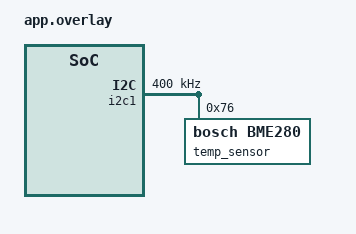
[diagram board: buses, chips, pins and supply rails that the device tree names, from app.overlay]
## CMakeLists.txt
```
cmake_minimum_required(VERSION 3.20.0)

find_package(Zephyr REQUIRED HINTS $ENV{ZEPHYR_BASE})
project(vitals_node_cpp)

target_sources(app PRIVATE src/main.cpp)
```

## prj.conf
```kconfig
# Підсистеми вмикаються поіменно: усе, чого тут немає, у прошивку не потрапляє.
CONFIG_GPIO=y
CONFIG_I2C=y
CONFIG_SENSOR=y
CONFIG_BME280=y

# C++ у Zephyr — це два прапорці. Винятки й RTTI лишаємо вимкненими:
# std::expected їх не потребує, а розмір образу від них помітно росте.
CONFIG_CPP=y
CONFIG_STD_CPP2B=y
CONFIG_CPP_EXCEPTIONS=n
CONFIG_CPP_RTTI=n

CONFIG_LOG=y
CONFIG_LOG_MODE_MINIMAL=y

CONFIG_HW_STACK_PROTECTION=y
CONFIG_THREAD_NAME=y
CONFIG_THREAD_ANALYZER=y
CONFIG_THREAD_ANALYZER_AUTO=y
CONFIG_THREAD_ANALYZER_AUTO_INTERVAL=30

CONFIG_MAIN_STACK_SIZE=1024
CONFIG_ISR_STACK_SIZE=1024
```

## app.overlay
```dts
/* app.overlay — опис підключення апаратури */
#include <zephyr/dt-bindings/i2c/i2c.h>

/ {
    aliases {
        sensor-i2c = &i2c1;
        status-led = &led0;
    };
};

&i2c1 {
    status = "okay";
    clock-frequency = <I2C_BITRATE_FAST>;

    temp_sensor: bme280@76 {
        compatible = "bosch,bme280";
        reg = <0x76>;
        status = "okay";
    };
};
```

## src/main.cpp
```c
// Той самий прилад на Zephyr, але додаток на C++. Дерево пристроїв і черга
// ядра лишаються рідними макросами Zephyr: обгортати їх нічим і нічого.
#include "devices.hpp"

#include <zephyr/kernel.h>
#include <zephyr/logging/log.h>

LOG_MODULE_REGISTER(vitals, LOG_LEVEL_INF);

namespace {

constexpr int kSensorPriority = 5;
constexpr int kSensorPeriodMs = 200;

// DEVICE_DT_GET віддає адресу статичної структури — це стала вираз,
// тож обидва об'єкти ініціалізуються ще на етапі компіляції.
constinit app::Sensor g_sensor{DEVICE_DT_GET(DT_NODELABEL(temp_sensor))};
constinit app::Led g_status_led{GPIO_DT_SPEC_GET(DT_ALIAS(status_led), gpios)};

struct Reading {
    std::int64_t uptime_ms;
    double celsius;
};

} // namespace

K_MSGQ_DEFINE(readings_q, sizeof(Reading), 8, 4);

extern "C" void sensor_thread(void *, void *, void *)
{
    if (auto ready = g_sensor.ready(); !ready) {
        LOG_ERR("%s: %s", g_sensor.name(), app::to_string(ready.error()));
        return;
    }

    while (true) {
        auto value = g_sensor.read(SENSOR_CHAN_AMBIENT_TEMP);
        if (!value) {
            LOG_WRN("%s", app::to_string(value.error()));
            k_msleep(kSensorPeriodMs);
            continue;
        }

        const Reading reading{k_uptime_get(), *value};

        // Черга переповнилася — споживач відстав. Викидаємо найстаріше
        // значення: свіжий вимір цінніший за минулий.
        if (k_msgq_put(&readings_q, &reading, K_MSEC(10)) != 0) {
            Reading stale{};
            (void)k_msgq_get(&readings_q, &stale, K_NO_WAIT);
            (void)k_msgq_put(&readings_q, &reading, K_NO_WAIT);
            LOG_WRN("черга переповнена, старий вимір відкинуто");
        }

        k_msleep(kSensorPeriodMs);
    }
}

K_THREAD_DEFINE(sensor_tid, 1024, sensor_thread, NULL, NULL, NULL, kSensorPriority, 0, 0);

int main()
{
    if (auto configured = g_status_led.configure(); !configured) {
        LOG_ERR("світлодіод стану: %s", app::to_string(configured.error()));
        return -ENODEV;
    }
    if (auto ready = g_sensor.ready(); !ready) {
        LOG_ERR("%s: %s", g_sensor.name(), app::to_string(ready.error()));
        return -ENODEV;
    }

    Reading reading{};

    while (true) {
        if (k_msgq_get(&readings_q, &reading, K_SECONDS(2)) != 0) {
            LOG_ERR("два кола без даних — світлодіод у тривогу");
            g_status_led.set(true);
            continue;
        }

        LOG_INF("t = %d.%02d °C (uptime %lld мс)", static_cast<int>(reading.celsius),
                static_cast<int>(reading.celsius * 100) % 100, reading.uptime_ms);
        g_status_led.toggle();
    }

    return 0;
}
```

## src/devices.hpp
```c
#pragma once

// Тонка обгортка над драйверною моделлю Zephyr. Вона нічого не приховує й
// нічого не додає: те саме struct device, лише замість цілих кодів помилок —
// std::expected, який неможливо мовчки проігнорувати.
#include <zephyr/device.h>
#include <zephyr/drivers/gpio.h>
#include <zephyr/drivers/sensor.h>

#include <expected>

namespace app {

enum class DeviceError { NotReady, FetchFailed, ChannelUnavailable, ConfigFailed };

class Sensor {
public:
    explicit constexpr Sensor(const device *dev) noexcept : dev_{dev} {}

    [[nodiscard]] std::expected<void, DeviceError> ready() const noexcept
    {
        if (!device_is_ready(dev_)) {
            return std::unexpected{DeviceError::NotReady};
        }
        return {};
    }

    // Одне вимірювання: вибірка й потрібний канал разом, бо порізно вони
    // не мають сенсу — sensor_channel_get віддає те, що взяв fetch.
    [[nodiscard]] std::expected<double, DeviceError> read(sensor_channel channel) const noexcept
    {
        if (sensor_sample_fetch(dev_) != 0) {
            return std::unexpected{DeviceError::FetchFailed};
        }
        sensor_value value{};
        if (sensor_channel_get(dev_, channel, &value) != 0) {
            return std::unexpected{DeviceError::ChannelUnavailable};
        }
        return sensor_value_to_double(&value);
    }

    [[nodiscard]] const char *name() const noexcept { return dev_->name; }

private:
    const device *dev_;
};

class Led {
public:
    explicit constexpr Led(const gpio_dt_spec &spec) noexcept : spec_{spec} {}

    [[nodiscard]] std::expected<void, DeviceError> configure() noexcept
    {
        if (!gpio_is_ready_dt(&spec_)) {
            return std::unexpected{DeviceError::NotReady};
        }
        if (gpio_pin_configure_dt(&spec_, GPIO_OUTPUT_INACTIVE) != 0) {
            return std::unexpected{DeviceError::ConfigFailed};
        }
        return {};
    }

    void set(bool on) noexcept { gpio_pin_set_dt(&spec_, on ? 1 : 0); }
    void toggle() noexcept { gpio_pin_toggle_dt(&spec_); }

private:
    gpio_dt_spec spec_;
};

constexpr const char *to_string(DeviceError e) noexcept
{
    switch (e) {
    case DeviceError::NotReady: return "пристрій не готовий";
    case DeviceError::FetchFailed: return "вибірка не вдалася";
    case DeviceError::ChannelUnavailable: return "канал недоступний";
    case DeviceError::ConfigFailed: return "не вдалося налаштувати вивід";
    }
    return "невідома помилка";
}

} // namespace app
```
